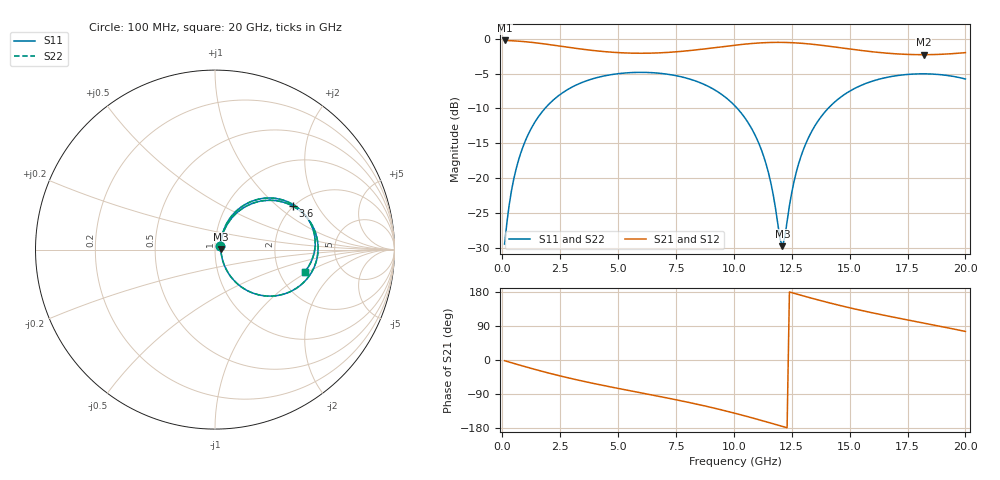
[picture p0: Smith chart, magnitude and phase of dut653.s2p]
! Touchstone file exported from HFSS 2026.1.0
!  File:  C:/ffzhzh/LocalFiles/Ansys_Project_Files/temp_train_TSV_RDL_653_1783129494_50312.aedt
!  Generated:  10:00:26 AM Jul  4, 2026
!  Design:  TSV_RDL
!  Project:  temp_train_TSV_RDL_653_1783129494_50312
! Variables:
!  h_bsmrdl = 5.58um
!  h_ox = 20um
!  h_rdl = 5um
!  h_sub = 55.57um
!  h_tmrdl = 4.41um
!  h_tsv = 55.57um
!  h_via = 3um
!  l_bsmrdl = 620.08um
!  l_sub = 5131.57um
!  l_tmrdl = 693.72um
!  m_sub = 200um
!  pitch = 40.66um
!  r_tsv = 3.55um
!  s_tmrdl = 10um
!  w_bsmrdl = 19.53um
!  w_sub = 500um
!  w_tmrdl = 12.62um
!  x_tsv_center1 = 700.03um
!  x_tsv_center2 = 1339.64um
!  x_tsv_center3 = 2045.98um
!  x_tsv_center4 = 2685.59um
!  x_tsv_center5 = 3391.93um
!  x_tsv_center6 = 4031.54um
# GHz S MA R 50.000000
! Terminal data exported
! Port[1] = TM_RDL1_1_T1
! Port[2] = TM_RDL5_1_T1
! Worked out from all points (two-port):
!   200 points, 100 MHz to 20 GHz, reference 50 ohm
!   highest |S21| = -0.24 dB at 100 MHz (marker M1); lowest = -2.3 dB at 18.2 GHz (marker M2)
!   |S21| within 3 dB of the highest: start of sweep to end of sweep
!   lowest |S11| = -29.7 dB at 12.1 GHz (marker M3), VSWR 1.07, Z = 53.3 + j0.338 ohm
!   |S11| at or under -10 dB: start of sweep to 1.841 GHz; 10.15 GHz to 14.07 GHz (3.916 GHz wide, 32.3 % of centre)
!   |S22| runs from -29.7 to -4.8 dB; largest |S21 - S12| = 1.6e-14
!   S11 on the Smith chart (normalised r, x): 100 MHz: 1.06, +0.04; 3.6 GHz: 1.99, +1.28; 20 GHz: 2.76, -0.93
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0.1  0.03371 34.4  0.9726 -1.9  0.9726 -1.9  0.03371 34.4
! Gamma 0 0 0 0
! Port Impedance 50 0 50 0
0.3  0.06477 58.4  0.9698 -5.5  0.9698 -5.5  0.06477 58.4
0.5  0.09951 63.8  0.9661 -9.1  0.9661 -9.1  0.09951 63.8
1.1  0.2029 61.8  0.9491 -19.6  0.9491 -19.6  0.203 61.8
2.1  0.3509 48.9  0.9052 -36.0  0.9052 -36.0  0.3509 48.9
3.5  0.4901 30.4  0.84 -56.1  0.84 -56.1  0.4901 30.4
3.6  0.4971 29.1  0.836 -57.4  0.836 -57.4  0.4971 29.1
5.2  0.5666 10.1  0.7927 -77.4  0.7927 -77.4  0.5666 10.1
6.8  0.5657 -7.9  0.7927 -96.3  0.7927 -96.3  0.5657 -7.9
8.7  0.472 -30.5  0.8445 -120.6  0.8445 -120.6  0.4721 -30.5
10.1  0.3233 -48.7  0.9015 -141.4  0.9015 -141.4  0.3233 -48.7
10.8  0.2221 -57.1  0.9256 -152.8  0.9256 -152.8  0.2222 -57.1
11.3  0.1417 -60.5  0.9373 -161.3  0.9373 -161.3  0.1417 -60.5
11.6  0.09225 -58.2  0.9412 -166.6  0.9412 -166.6  0.09228 -58.2
12  0.03626 -21.8  0.9426 -173.6  0.9426 -173.6  0.03629 -21.9
12.1  0.03256 5.6  0.9422 -175.3  0.9422 -175.3  0.03258 5.5
12.7  0.1111 65.6  0.9339 174.2  0.9339 174.2  0.1111 65.6
13.4  0.2224 62.8  0.9131 162.4  0.9131 162.4  0.2224 62.7
14.7  0.3906 46.9  0.858 142.1  0.858 142.1  0.3906 46.9
16.7  0.5324 22.8  0.7862 115.4  0.7862 115.4  0.5325 22.8
18.2  0.5606 6.2  0.7689 97.4  0.7689 97.4  0.5606 6.2
20  0.5145 -13.9  0.7956 75.4  0.7956 75.4  0.5145 -13.9
